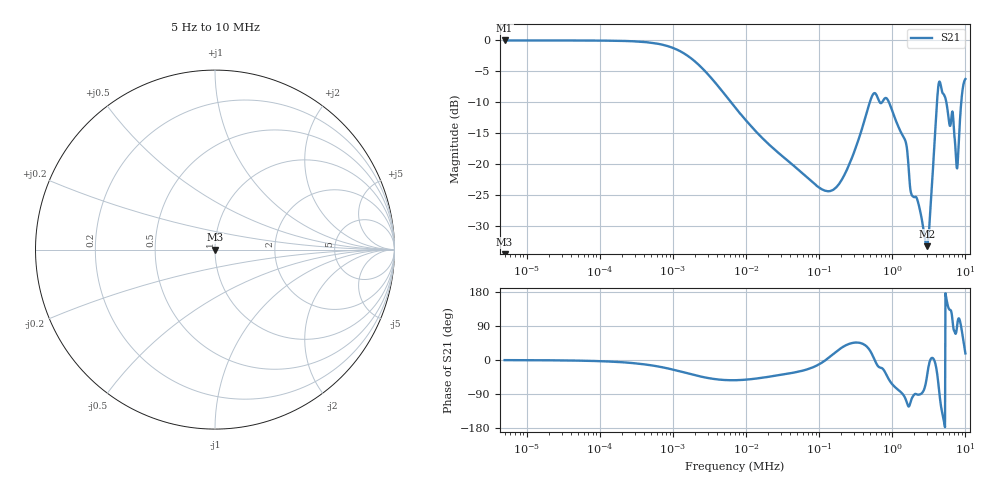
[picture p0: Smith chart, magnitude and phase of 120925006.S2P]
!Agilent Technologies,E5061B,MY49204007,A.02.12
!Date: Fri Sep 12 09:55:02 2025
!Data & Calibration Information:
!Freq	S11:SOLT2(OFF)	S21:SOLT2(OFF)	S12:SOLT2(OFF)	S22:SOLT2(OFF)
# Hz S dB R 50
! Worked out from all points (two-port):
!   1041 points, 5 Hz to 10 MHz, reference 50 ohm
!   highest |S21| = -0.04 dB at 5 Hz (marker M1); lowest = -33.3 dB at 2.953 MHz (marker M2)
!   |S21| within 3 dB of the highest: start of sweep to 1.828 kHz
!   lowest |S11| = - dB at 5 Hz (marker M3), VSWR 1.00, Z = 50 + j0 ohm
!   |S11| at or under -10 dB: start of sweep to end of sweep
!   S12 and S22 are empty: the file has one direction only
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5  -200.00 0.0  -0.04 -0.3  -200.00 0.0  -200.00 0.0
56.522  -200.00 0.0  -0.04 -1.8  -200.00 0.0  -200.00 0.0
632.897  -200.00 0.0  -0.58 -17.2  -200.00 0.0  -200.00 0.0
1929.818  -200.00 0.0  -3.26 -39.3  -200.00 0.0  -200.00 0.0
7154.49  -200.00 0.0  -10.88 -53.3  -200.00 0.0  -200.00 0.0
80111.67  -200.00 0.0  -22.85 -20.2  -200.00 0.0  -200.00 0.0
184499  -200.00 0.0  -23.31 26.8  -200.00 0.0  -200.00 0.0
463499.7  -200.00 0.0  -11.07 32.4  -200.00 0.0  -200.00 0.0
575186.5  -200.00 0.0  -8.54 -0.1  -200.00 0.0  -200.00 0.0
893075.1  -200.00 0.0  -9.90 -50.4  -200.00 0.0  -200.00 0.0
1506114  -200.00 0.0  -16.20 -101.0  -200.00 0.0  -200.00 0.0
1839519  -200.00 0.0  -24.96 -102.7  -200.00 0.0  -200.00 0.0
2953077  -200.00 0.0  -33.25 -48.3  -200.00 0.0  -200.00 0.0
3226529  -200.00 0.0  -29.54 -5.9  -200.00 0.0  -200.00 0.0
3727860  -200.00 0.0  -17.87 0.6  -200.00 0.0  -200.00 0.0
4062365  -200.00 0.0  -10.50 -29.1  -200.00 0.0  -200.00 0.0
4378536  -200.00 0.0  -6.71 -82.6  -200.00 0.0  -200.00 0.0
5137346  -200.00 0.0  -8.87 -166.0  -200.00 0.0  -200.00 0.0
6296489  -200.00 0.0  -13.54 131.5  -200.00 0.0  -200.00 0.0
7597399  -200.00 0.0  -20.57 80.5  -200.00 0.0  -200.00 0.0
8558440  -200.00 0.0  -11.70 97.5  -200.00 0.0  -200.00 0.0
1e7  -200.00 0.0  -6.27 17.4  -200.00 0.0  -200.00 0.0
